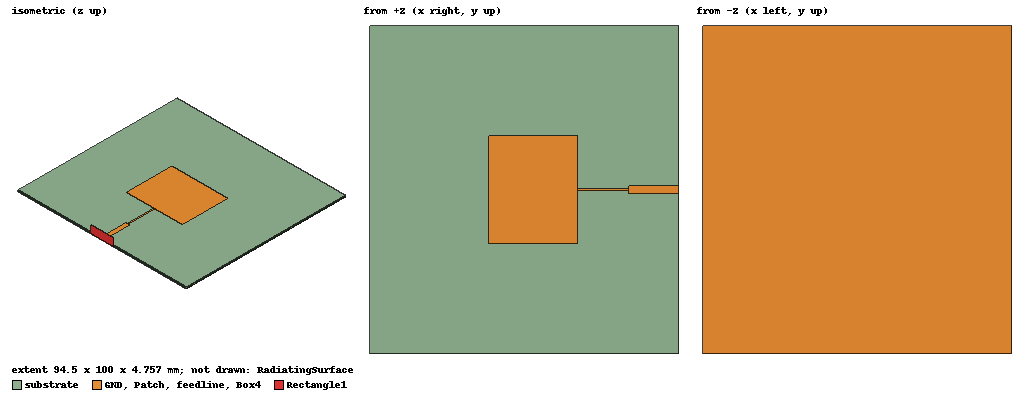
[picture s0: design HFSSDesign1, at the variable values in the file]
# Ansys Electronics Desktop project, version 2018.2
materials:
  vacuum: permittivity=1
  Rogers RT/duroid 5870 (tm): permittivity=2.33 dielectric_loss_tangent=0.0012
  copper: permeability=0.999991 conductivity=58000000
  air: permittivity=1.0006 permeability=1.0000004

design HFSSDesign1 (HFSS, DrivenModal, model units mm)
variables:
  l_sub = 100mm
  w_sub = 100mm
  l_pat = 27mm
  lq = 15.7mm
  lf = 15.3mm
  h_sub = 0.787mm
  t = 0.035mm
  w_pat = 33.21mm
  wq = 0.7mm
  wf = 2.33mm
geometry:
  substrate [Rogers RT/duroid 5870 (tm)] = box(corner=(-l_sub/2, -w_sub/2, 0mm), size=(l_sub/2+l_pat/2+lq+lf, w_sub, h_sub))
  GND [copper] = box(corner=(-l_sub/2, -w_sub/2, 0mm), size=(l_sub/2+l_pat/2+lq+lf, w_sub, -t))
  Patch [copper] = box(corner=(-l_pat/2, -w_pat/2, h_sub), size=(l_pat, w_pat, t))
  Box4 [copper] = box(corner=(l_pat/2, -wq/2, h_sub), size=(lq, wq, t))
  feedline [copper] = box(corner=(l_pat/2+lq, -wf/2, h_sub), size=(lf, wf, t))
  Rectangle1 = rectangle(corner=(l_pat/2+lq+lf, -wf*3, 0mm), y_size=wf*6, z_size=h_sub*6)
  RadiatingSurface [vacuum] = region(absolute_offset: +X=0mm, -X=28.571429mm, +Y=28.571429mm, -Y=28.571429mm, +Z=28.571429mm, -Z=28.571429mm)
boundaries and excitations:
  Open1: Radiation Objects=RadiatingSurface
  1: Wave Port Objects=Rectangle1 NumModes=1 Modes{Mode1{IntLine{middle of feedline.edge(5 of 12) -> middle of Rectangle1.edge(z at corner)} CharImp=Zpi}}
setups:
  Setup1: HfssDriven Frequency=3.5GHz MaxDeltaS=0.02 MaximumPasses=20 MinimumPasses=1 MinimumConvergedPasses=1 PercentRefinement=30 BasisOrder=1 PortAccuracy=2
    sweep Sweep: 3GHz to 4GHz step 0.01GHz; Type=Fast SaveFields
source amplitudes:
  1:1: 1W 0deg
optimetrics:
  ParametricSetup1: Parametric Sim._Setups=[Setup1]
    sweep l_pat: LIN 13.87mm 41.61mm 2mm
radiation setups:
  3D: Infinite Sphere Theta=-180deg..180deg step 2deg Phi=-180deg..180deg step 2deg
  Elevation: Infinite Sphere Theta=-180deg..180deg step 1deg Phi=0deg..90deg step 90deg
  Azimuth: Infinite Sphere Theta=90deg..90deg step 0deg Phi=-180deg..180deg step 1deg
  antenna array: RegularArray NumUCells=1 NumVCells=4 CellUDist=0mm CellVDist=70mm UDirnX=1 UDirnY=0 UDirnZ=0 VDirnX=0 VDirnY=1 VDirnZ=0 FirstCellPosX=0mm FirstCellPosY=0mm FirstCellPosZ=0mm Behavior=UseScanAngle ScanAnglePhi=0deg ScanAngleTheta=0deg UDirnPhaseShift=0deg VDirnPhaseShift=0deg
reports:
  S Parameter Plot 1: dB(S(1,1)) vs Freq on Setup1 : Sweep
  Gain Plot 1: dB(GainTotal) vs Theta on Setup1 : LastAdaptive, 3D [Phi=0deg,90deg Freq=3.5GHz l_pat=27mm wq=0.7mm]
  Gain Plot 2: dB(GainTotal) vs Theta on Setup1 : LastAdaptive, 3D [Phi=all Freq=3.5GHz l_pat=27mm wq=0.7mm]
  Gain Plot 3: dB(GainTotal) vs Theta on Setup1 : LastAdaptive, 3D [Phi=0deg,90deg Freq=3.5GHz l_pat=27mm wq=0.7mm]; markers MY1 at y=3
   Plot 1: RadiatedPower/IncidentPower vs Freq on Setup1 : Sweep [Freq=3.39GHz,3.4GHz,3.41GHz,3.42GHz,3.43GHz,3.44GHz,3.45GHz,3.46GHz,3.47GHz,3.48GHz,3.49GHz,3.5GHz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 l_pat=27mm wq=0.7mm]
